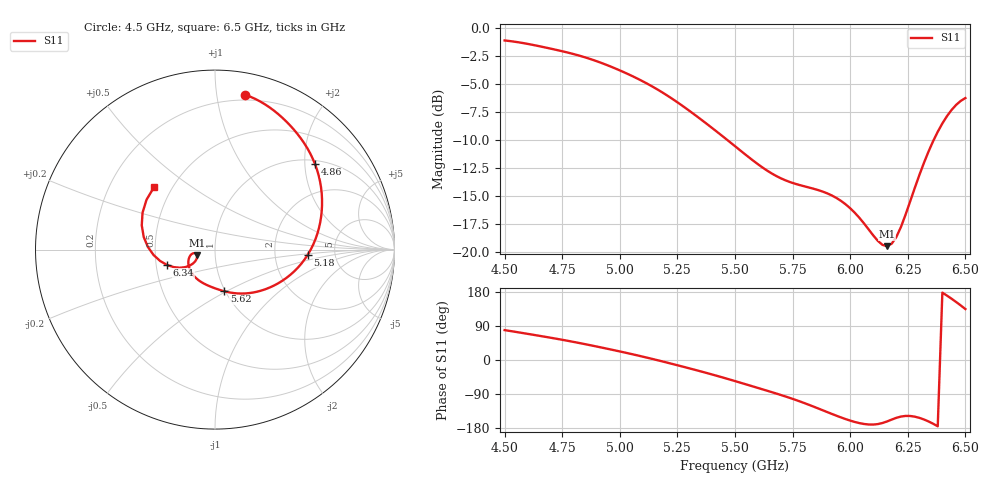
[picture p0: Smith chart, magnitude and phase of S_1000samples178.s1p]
! TOUCHSTONE file generated by CST MICROWAVE STUDIO
! Date and time: Thu Oct 27 06:39:24 2022
! Project name: L.cst
! Parameters = {Di=1.27; Epsilon_r=1.56; InnerDiameter=1.27; Length=2; Lf=10; Lg=60; OuterConductorThickness=0.2921; OuterDiameter=3.6; Wf=3; Wp=41.2; de=1.5; df=6.8; g=0.8; gx=2.39587; gy=2.93282; h=2.34; hf=1.524; px=12.9448; py=10.333; w=9.7; wx=10.5489; wy=7.40018}
! Header version: 2018
! Port assignment regex: !\s*Touchstone port\s*([0-9]+)\s*=\s*(CST MWS port|CST DS port)\s*([0-9]+|Zmin|Zmax)\s*\(\"(.*)\"\)(\s*mode\s*([0-9]+))?.*
! Touchstone port assignment:
! Touchstone port 1 = CST MWS port 1 ("")
# GHz S DB R 50
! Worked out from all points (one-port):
!   101 points, 4.5 GHz to 6.5 GHz, reference 50 ohm
!   lowest |S11| = -19.5 dB at 6.16 GHz (marker M1), VSWR 1.24, Z = 40.8 - j2.67 ohm
!   |S11| at or under -10 dB: 5.465 GHz to 6.363 GHz (897.6 MHz wide, 15.2 % of centre)
!   S11 on the Smith chart (normalised r, x): 4.5 GHz: 0.16, +1.20; 4.86 GHz: 1.10, +2.25; 5.18 GHz: 3.13, -0.23; 5.62 GHz: 0.99, -0.49; 6.34 GHz: 0.57, -0.11; 6.5 GHz: 0.40, +0.36
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4.5  -1.12 78.9
4.62  -1.51 67.0
4.76  -2.13 52.2
4.86  -2.70 40.5
4.92  -3.13 33.0
5  -3.80 22.6
5.08  -4.57 11.6
5.18  -5.71 -3.0
5.26  -6.79 -15.4
5.38  -8.62 -34.8
5.5  -10.57 -55.6
5.62  -12.49 -77.5
5.76  -13.93 -104.7
5.9  -14.79 -137.4
6  -16.12 -159.9
6.08  -18.02 -170.2
6.12  -19.04 -169.1
6.16  -19.52 -162.1
6.18  -19.30 -157.3
6.2  -18.71 -152.7
6.26  -15.53 -147.7
6.3  -13.17 -152.6
6.34  -11.05 -162.1
6.38  -9.29 -174.9
6.42  -7.89 170.0
6.44  -7.33 161.7
6.48  -6.52 143.9
6.5  -6.27 134.5
